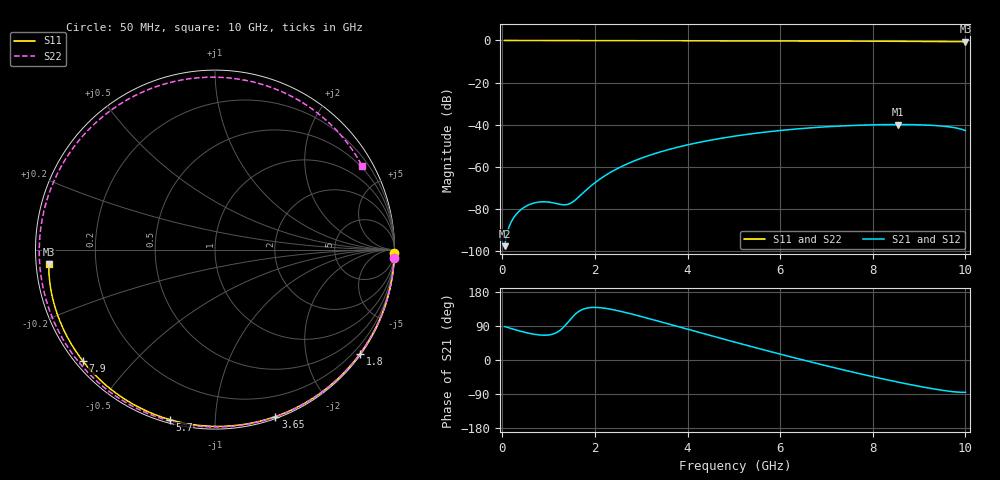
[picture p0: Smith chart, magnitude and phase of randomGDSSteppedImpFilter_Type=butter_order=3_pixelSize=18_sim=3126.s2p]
! freq	dB(S11)	phase(S11)	dB(S12)	phase(S12)
!  dB(S21)	phase(S21)	dB(S22)	phase(S22)
!S-par simulation data
#  GHz  S  DB  R 50
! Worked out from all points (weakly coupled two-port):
!   200 points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, 50 MHz to 10 GHz, reference 50 ohm
!   highest |S21| = -39.95 dB at 8.55 GHz (marker M1); lowest = -97.7 dB at 50 MHz (marker M2)
!   lowest |S11| = -0.6 dB at 10 GHz (marker M3), VSWR 27.03, Z = 1.85 - j2.15 ohm
!   |S11| at or under -10 dB: nowhere
!   |S22| runs from -0.5 to 0.0 dB; largest |S21 - S12| = 0
!   S11 on the Smith chart (normalised r, x): 50 MHz: open; 1.8 GHz: 0.03, -3.11; 3.65 GHz: 0.02, -1.43; 5.7 GHz: 0.02, -0.77; 7.9 GHz: 0.02, -0.37; 10 GHz: 0.04, -0.04
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0.05  -0.00 -1.0  -97.75 88.2  -97.75 88.2  -0.00 -2.8
0.45  -0.01 -9.1  -79.60 74.2  -79.60 74.2  -0.03 -24.3
0.7  -0.02 -14.1  -77.15 67.6  -77.15 67.6  -0.05 -37.4
0.95  -0.02 -19.0  -76.69 65.5  -76.69 65.5  -0.06 -50.1
1.4  -0.04 -27.9  -77.95 97.0  -77.95 97.0  -0.08 -71.5
1.55  -0.04 -30.8  -76.26 117.9  -76.26 117.9  -0.09 -78.3
1.75  -0.04 -34.7  -72.33 134.2  -72.33 134.2  -0.10 -86.9
1.8  -0.05 -35.7  -71.32 136.2  -71.32 136.2  -0.10 -89.0
2.1  -0.05 -41.5  -65.99 138.2  -65.99 138.2  -0.11 -101.1
2.45  -0.06 -48.1  -61.29 131.3  -61.29 131.3  -0.12 -114.3
3.4  -0.09 -65.6  -53.03 101.5  -53.03 101.5  -0.14 -145.8
3.65  -0.09 -70.1  -51.49 93.1  -51.49 93.1  -0.15 -153.3
4.35  -0.12 -82.4  -47.99 69.4  -47.99 69.4  -0.17 -173.0
5.05  -0.14 -94.3  -45.36 46.2  -45.36 46.2  -0.20 168.3
5.7  -0.18 -105.0  -43.49 25.1  -43.49 25.1  -0.23 151.5
6.7  -0.23 -121.0  -41.45 -6.3  -41.45 -6.3  -0.28 125.5
7.3  -0.28 -130.4  -40.65 -24.2  -40.65 -24.2  -0.31 109.4
7.9  -0.33 -139.8  -40.14 -41.3  -40.14 -41.3  -0.34 92.8
8.35  -0.37 -146.9  -39.97 -53.4  -39.97 -53.4  -0.37 79.9
8.55  -0.39 -150.1  -39.95 -58.5  -39.95 -58.5  -0.38 74.1
9.25  -0.48 -161.5  -40.30 -74.9  -40.30 -74.9  -0.43 53.0
10  -0.64 -175.1  -42.81 -85.2  -42.81 -85.2  -0.51 29.7
